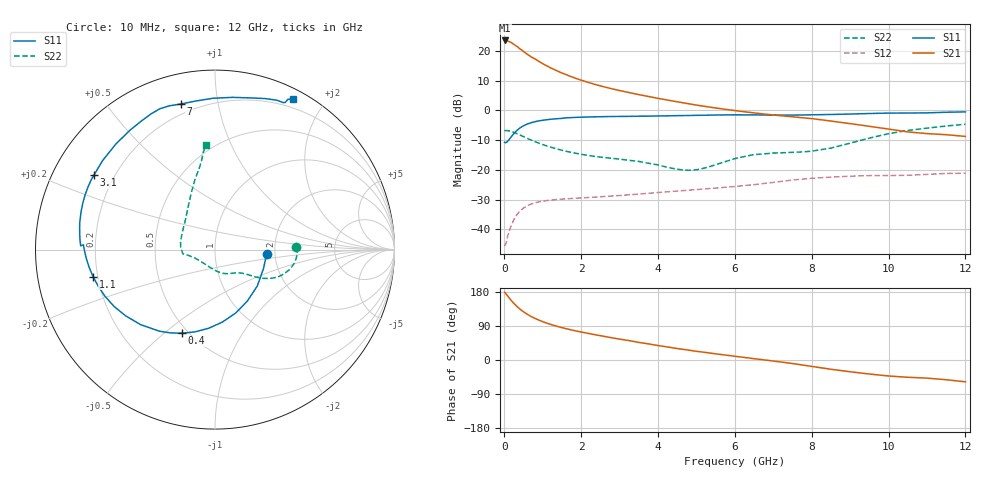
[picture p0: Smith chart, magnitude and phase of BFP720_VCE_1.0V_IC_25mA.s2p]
! Infineon Technologies  Discrete & RF Semiconductors
! BFP720
! VCE =  1.0 V,  IC =  25 mA
! Common Emitter S-Parameters:  Aug 2012
# GHz  S  MA  R  50
!  f  S11  S21  S12  S22
! GHz  MAG  ANG  MAG  ANG  MAG  ANG  MAG  ANG
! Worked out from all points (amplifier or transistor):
!   105 points, 10 MHz to 12 GHz, reference 50 ohm
!   highest |S21| = 23.5 dB at 20 MHz (marker M1)
!   |S21| within 3 dB of that: start of sweep to 430 MHz
!   unconditionally stable (mu >= 1): start of sweep to end of sweep
!   at 300 MHz: K = 1.65, MAG = 24.0 dB, |S12| = -35.7 dB
!   at 3.6 GHz: K = 2.43, MAG = 9.9 dB, |S12| = -28.0 dB
!   at 12 GHz: K = 1.50, MAG = 2.0 dB, |S12| = -21.1 dB
!   S11 on the Smith chart (normalised r, x): 10 MHz: 1.81, -0.09; 400 MHz: 0.46, -0.58; 1.1 GHz: 0.18, -0.11; 3.1 GHz: 0.13, +0.28; 7 GHz: 0.15, +0.78; 12 GHz: 0.11, +1.64
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0.01  0.29 -4.7  14.95 178.8  0.0052 5.5  0.4488 1.5
0.02  0.2866 -8.8  15.01 177.9  0.0054 16.0  0.4575 -0.8
0.1  0.3109 -40.6  14.59 167.6  0.0081 38.3  0.4545 -6.6
0.15  0.3384 -57.7  14.18 161.1  0.0102 44.0  0.4478 -9.8
0.2  0.3717 -71.9  13.61 155.0  0.0123 46.7  0.4378 -12.8
0.3  0.4396 -94.6  12.26 144.3  0.0165 46.4  0.4138 -18.1
0.35  0.4715 -103.6  11.7 139.5  0.0183 45.2  0.4011 -20.4
0.4  0.5006 -111.5  10.91 135.1  0.02 43.6  0.3885 -22.5
0.45  0.5266 -118.2  10.44 131.1  0.0214 42.0  0.3749 -24.3
0.6  0.5894 -134.9  8.778 120.6  0.0249 37.3  0.3383 -28.4
0.7  0.6198 -143.5  7.957 114.8  0.0266 34.5  0.3168 -30.4
0.9  0.666 -157.1  6.686 105.3  0.0289 30.3  0.2813 -33.3
1.1  0.6958 -167.5  5.647 97.5  0.0304 27.2  0.2533 -35.3
1.5  0.7336 177.9  4.258 85.4  0.0322 23.8  0.2138 -39.1
2.1  0.7712 166.6  3.079 72.0  0.034 22.3  0.1784 -46.7
3.1  0.7919 148.5  2.092 53.6  0.0374 22.9  0.1487 -64.3
4.1  0.8074 131.8  1.554 36.7  0.042 23.3  0.1165 -88.8
6.1  0.842 110.7  0.975 8.6  0.0532 22.0  0.1596 -169.3
7  0.8333 103.3  0.837 -2.8  0.0614 20.7  0.1918 175.7
8.5  0.8539 83.4  0.662 -24.4  0.0754 9.1  0.2321 135.5
10.5  0.9033 65.0  0.435 -45.6  0.081 -4.6  0.4598 101.1
12  0.9438 62.6  0.365 -57.5  0.0877 -14.2  0.5846 94.9
